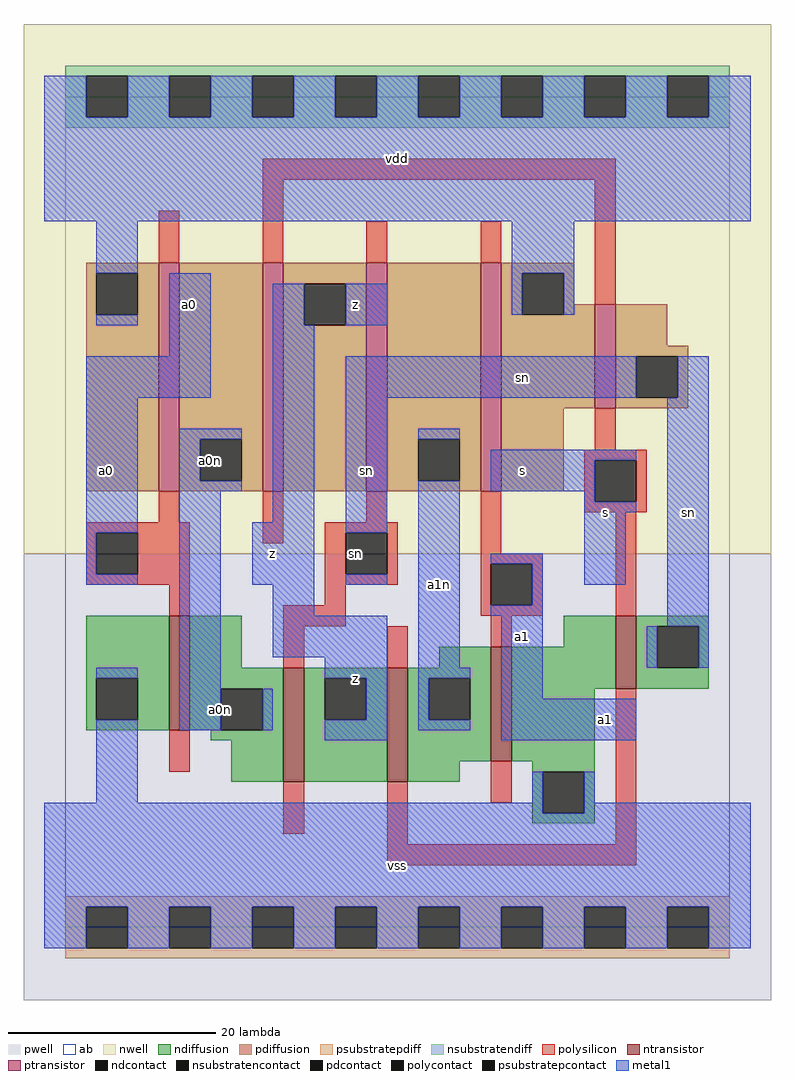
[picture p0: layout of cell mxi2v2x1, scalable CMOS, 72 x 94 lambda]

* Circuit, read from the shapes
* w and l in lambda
.subckt mxi2v2x1 a0 a0n a1 a1n s sn vdd vss z
M1 a0n a0 vss vss nfet w=11 l=2
M2 z sn a0n vss nfet w=11 l=2
M3 a1n s z vss nfet w=11 l=2
M4 vss a1 a1n vss nfet w=11 l=2
M5 sn s vss vss nfet w=7 l=2
M6 a0n a0 vdd vdd pfet w=22 l=2
M7 z s a0n vdd pfet w=22 l=2
M8 a1n sn z vdd pfet w=22 l=2
M9 vdd a1 a1n vdd pfet w=22 l=2
M10 sn s vdd vdd pfet w=10 l=2
.ends

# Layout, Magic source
magic
tech scmos
<< ab >>
rect 0 0 64 80
<< pwell >>
rect -4 -7 68 36
<< nwell >>
rect -4 36 68 87
<< polysilicon >>
rect 19 72 53 74
rect 9 64 11 69
rect 19 64 21 72
rect 29 64 31 68
rect 40 64 42 68
rect 51 60 53 72
rect 51 46 53 50
rect 50 45 56 46
rect 9 39 11 42
rect 2 38 12 39
rect 2 34 3 38
rect 7 34 12 38
rect 19 37 21 42
rect 29 39 31 42
rect 25 38 32 39
rect 2 33 12 34
rect 10 30 12 33
rect 25 34 27 38
rect 31 34 32 38
rect 25 33 32 34
rect 40 36 42 42
rect 50 41 51 45
rect 55 41 56 45
rect 50 40 56 41
rect 40 35 46 36
rect 25 31 27 33
rect 21 29 27 31
rect 40 31 41 35
rect 45 31 46 35
rect 40 30 46 31
rect 53 30 55 40
rect 21 25 23 29
rect 31 25 33 29
rect 41 27 43 30
rect 10 15 12 19
rect 21 9 23 14
rect 31 8 33 14
rect 41 12 43 16
rect 53 8 55 23
rect 31 6 55 8
<< ndiffusion >>
rect 2 24 10 30
rect 2 20 3 24
rect 7 20 10 24
rect 2 19 10 20
rect 12 25 17 30
rect 48 27 53 30
rect 36 25 41 27
rect 12 23 21 25
rect 12 19 15 23
rect 19 19 21 23
rect 14 18 21 19
rect 16 14 21 18
rect 23 24 31 25
rect 23 20 25 24
rect 29 20 31 24
rect 23 14 31 20
rect 33 24 41 25
rect 33 20 35 24
rect 39 20 41 24
rect 33 16 41 20
rect 43 23 53 27
rect 55 29 62 30
rect 55 25 57 29
rect 61 25 62 29
rect 55 23 62 25
rect 43 16 51 23
rect 33 14 38 16
rect 45 15 51 16
rect 45 11 46 15
rect 50 11 51 15
rect 45 10 51 11
<< pdiffusion >>
rect 2 63 9 64
rect 2 59 3 63
rect 7 59 9 63
rect 2 42 9 59
rect 11 47 19 64
rect 11 43 13 47
rect 17 43 19 47
rect 11 42 19 43
rect 21 62 29 64
rect 21 58 23 62
rect 27 58 29 62
rect 21 42 29 58
rect 31 47 40 64
rect 31 43 34 47
rect 38 43 40 47
rect 31 42 40 43
rect 42 63 49 64
rect 42 59 44 63
rect 48 60 49 63
rect 48 59 51 60
rect 42 50 51 59
rect 53 56 58 60
rect 53 55 60 56
rect 53 51 55 55
rect 59 51 60 55
rect 53 50 60 51
rect 42 42 48 50
<< metal1 >>
rect -2 78 2 82
rect 6 78 10 82
rect 14 78 18 82
rect 22 78 26 82
rect 30 78 34 82
rect 38 78 42 82
rect 46 78 50 82
rect 54 78 58 82
rect 62 78 66 82
rect -2 68 66 78
rect 3 63 7 68
rect 43 63 49 68
rect 3 58 7 59
rect 10 55 14 63
rect 2 51 14 55
rect 20 58 23 62
rect 27 58 31 62
rect 43 59 44 63
rect 48 59 49 63
rect 2 38 7 51
rect 2 34 3 38
rect 2 33 7 34
rect 11 47 17 48
rect 11 43 13 47
rect 11 42 17 43
rect 3 24 7 25
rect 3 12 7 20
rect 11 19 15 42
rect 20 39 24 58
rect 18 33 24 39
rect 27 51 55 55
rect 59 51 62 55
rect 27 38 31 51
rect 27 33 31 34
rect 34 47 38 48
rect 20 30 24 33
rect 20 26 31 30
rect 25 24 31 26
rect 19 19 20 23
rect 29 20 31 24
rect 25 18 31 20
rect 34 25 38 43
rect 41 45 55 46
rect 41 42 51 45
rect 50 41 51 42
rect 50 40 55 41
rect 41 35 46 36
rect 45 31 46 35
rect 50 33 54 40
rect 41 30 46 31
rect 34 24 39 25
rect 34 20 35 24
rect 34 19 39 20
rect 42 22 46 30
rect 58 29 62 51
rect 56 25 57 29
rect 61 25 62 29
rect 42 18 55 22
rect 45 12 46 15
rect -2 11 46 12
rect 50 12 51 15
rect 50 11 66 12
rect -2 2 66 11
rect -2 -2 2 2
rect 6 -2 10 2
rect 14 -2 18 2
rect 22 -2 26 2
rect 30 -2 34 2
rect 38 -2 42 2
rect 46 -2 50 2
rect 54 -2 58 2
rect 62 -2 66 2
<< ntransistor >>
rect 10 19 12 30
rect 21 14 23 25
rect 31 14 33 25
rect 41 16 43 27
rect 53 23 55 30
<< ptransistor >>
rect 9 42 11 64
rect 19 42 21 64
rect 29 42 31 64
rect 40 42 42 64
rect 51 50 53 60
<< polycontact >>
rect 3 34 7 38
rect 27 34 31 38
rect 51 41 55 45
rect 41 31 45 35
<< ndcontact >>
rect 3 20 7 24
rect 15 19 19 23
rect 25 20 29 24
rect 35 20 39 24
rect 57 25 61 29
rect 46 11 50 15
<< pdcontact >>
rect 3 59 7 63
rect 13 43 17 47
rect 23 58 27 62
rect 34 43 38 47
rect 44 59 48 63
rect 55 51 59 55
<< psubstratepcontact >>
rect 2 -2 6 2
rect 10 -2 14 2
rect 18 -2 22 2
rect 26 -2 30 2
rect 34 -2 38 2
rect 42 -2 46 2
rect 50 -2 54 2
rect 58 -2 62 2
<< nsubstratencontact >>
rect 2 78 6 82
rect 10 78 14 82
rect 18 78 22 82
rect 26 78 30 82
rect 34 78 38 82
rect 42 78 46 82
rect 50 78 54 82
rect 58 78 62 82
<< psubstratepdiff >>
rect 0 2 64 3
rect 0 -2 2 2
rect 6 -2 10 2
rect 14 -2 18 2
rect 22 -2 26 2
rect 30 -2 34 2
rect 38 -2 42 2
rect 46 -2 50 2
rect 54 -2 58 2
rect 62 -2 64 2
rect 0 -3 64 -2
<< nsubstratendiff >>
rect 0 82 64 83
rect 0 78 2 82
rect 6 78 10 82
rect 14 78 18 82
rect 22 78 26 82
rect 30 78 34 82
rect 38 78 42 82
rect 46 78 50 82
rect 54 78 58 82
rect 62 78 64 82
rect 0 77 64 78
<< labels >>
rlabel polycontact 28 36 28 36 6 sn
rlabel metal1 4 44 4 44 6 a0
rlabel metal1 15 21 15 21 6 a0n
rlabel metal1 20 36 20 36 6 z
rlabel pdcontact 14 45 14 45 6 a0n
rlabel metal1 12 60 12 60 6 a0
rlabel metal1 32 6 32 6 6 vss
rlabel metal1 28 24 28 24 6 z
rlabel metal1 29 44 29 44 6 sn
rlabel metal1 36 33 36 33 6 a1n
rlabel metal1 28 60 28 60 6 z
rlabel metal1 32 74 32 74 6 vdd
rlabel metal1 44 28 44 28 6 a1
rlabel metal1 44 44 44 44 6 s
rlabel metal1 52 20 52 20 6 a1
rlabel metal1 52 40 52 40 6 s
rlabel metal1 60 40 60 40 6 sn
rlabel metal1 44 53 44 53 6 sn
<< end >>
